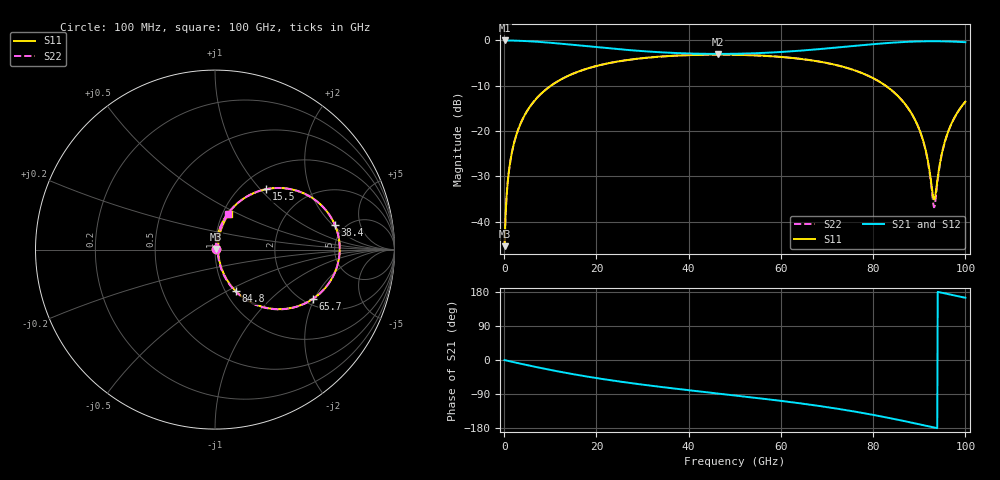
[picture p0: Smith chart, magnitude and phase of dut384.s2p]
! Touchstone file exported from HFSS 2026.1.0
!  File:  C:/ffzhzh/LocalFiles/Ansys_Project_Files/temp_train_RDL_384_1783503790_41296.aedt
!  Generated:  05:44:38 PM Jul  8, 2026
!  Design:  RDL
!  Project:  temp_train_RDL_384_1783503790_41296
! Variables:
!  h_bsmrdl = 2um
!  h_ox = 20um
!  h_rdl = 5um
!  h_sub = 80um
!  h_tmrdl = 4.19um
!  h_tsv = 80um
!  h_via = 3um
!  l_bsmrdl = 300um
!  l_sub = 1040.74um
!  l_tmrdl = 640.74um
!  m_sub = 200um
!  pitch = 54.43um
!  r_tsv = 6um
!  s_tmrdl = 10um
!  w_bsmrdl = 18um
!  w_sub = 500um
!  w_tmrdl = 13.74um
!  x_tsv_center1 = 647.61um
!  x_tsv_center2 = 965.61um
!  x_tsv_center3 = 1620.09um
!  x_tsv_center4 = 1938.09um
!  x_tsv_center5 = 2592.57um
!  x_tsv_center6 = 2910.57um
# GHz S MA R 50.000000
! Terminal data exported
! Port[1] = TM_RDL1_1_T1
! Port[2] = TM_RDL1_1_T2
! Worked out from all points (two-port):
!   1000 points, 100 MHz to 100 GHz, reference 50 ohm
!   highest |S21| = -0.03 dB at 100 MHz (marker M1); lowest = -3.0 dB at 46.4 GHz (marker M2)
!   |S21| within 3 dB of the highest: start of sweep to end of sweep
!   lowest |S11| = -45.4 dB at 100 MHz (marker M3), VSWR 1.01, Z = 50.4 + j0.359 ohm
!   |S11| at or under -10 dB: start of sweep to 10.16 GHz; 82.69 GHz to end of sweep
!   |S22| runs from -45.4 to -3.2 dB; largest |S21 - S12| = 1.8e-14
!   S11 on the Smith chart (normalised r, x): 100 MHz: 1.01, +0.01; 15.5 GHz: 1.29, +1.07; 38.4 GHz: 4.12, +2.14; 65.7 GHz: 2.22, -1.95; 84.8 GHz: 1.12, -0.56; 100 GHz: 1.07, +0.44
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0.1  0.005363 41.6  0.996 -0.3  0.996 -0.3  0.005363 41.6
! Gamma 0 0 0 0
! Port Impedance 50 0 50 0
0.8  0.02817 78.4  0.995 -2.2  0.995 -2.2  0.02817 78.4
1.4  0.04846 80.4  0.994 -3.9  0.994 -3.9  0.04846 80.4
3.8  0.1284 76.8  0.9854 -10.4  0.9854 -10.4  0.1284 76.8
8.4  0.2684 65.7  0.9536 -22.2  0.9536 -22.2  0.2684 65.7
15.5  0.4401 49.8  0.8856 -38.6  0.8856 -38.6  0.4401 49.8
16.8  0.4656 47.2  0.8725 -41.3  0.8725 -41.3  0.4655 47.2
33.4  0.6585 18.9  0.7403 -70.2  0.7403 -70.2  0.6585 18.9
38.4  0.6816 11.8  0.7199 -77.4  0.7199 -77.4  0.6815 11.7
46.4  0.6951 0.9  0.7076 -88.5  0.7076 -88.5  0.695 0.9
50.1  0.6924 -4.1  0.7102 -93.6  0.7102 -93.6  0.6923 -4.1
65.7  0.6105 -26.7  0.7791 -116.9  0.7791 -116.9  0.6104 -26.8
66.7  0.6004 -28.4  0.7865 -118.5  0.7865 -118.5  0.6003 -28.5
75.7  0.4716 -44.6  0.8658 -135.5  0.8658 -135.5  0.4715 -44.8
83.4  0.2975 -60.5  0.9354 -152.8  0.9354 -152.8  0.2973 -60.9
84.8  0.2593 -63.4  0.9458 -156.3  0.9458 -156.3  0.2591 -63.9
90.2  0.09813 -70.6  0.9729 -170.2  0.9729 -170.2  0.0976 -72.3
91.6  0.05492 -66.0  0.9757 -173.9  0.9757 -173.9  0.05398 -69.0
93.2  0.01756 -1.2  0.9766 -178.1  0.9766 -178.1  0.01441 -1.6
94.8  0.05343 67.9  0.9748 177.7  0.9748 177.7  0.05249 71.3
95.9  0.08714 72.6  0.9722 174.8  0.9722 174.8  0.08657 74.8
100  0.2108 69.0  0.9528 164.2  0.9528 164.2  0.2105 70.0
